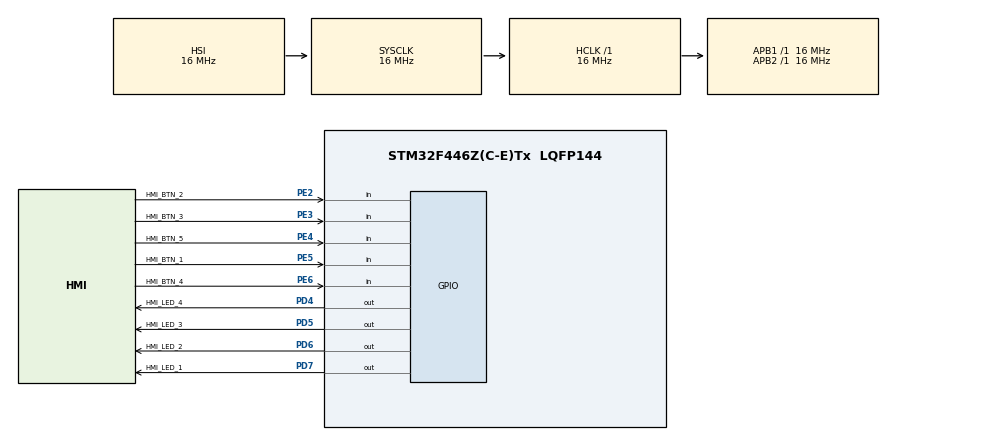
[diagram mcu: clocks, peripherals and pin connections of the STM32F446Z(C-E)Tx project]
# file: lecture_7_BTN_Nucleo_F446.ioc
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Mcu.Family=STM32F4
Mcu.Name=STM32F446Z(C-E)Tx
Mcu.Package=LQFP144
NVIC.PriorityGroup=NVIC_PRIORITYGROUP_4
PA13.Mode=Serial_Wire
PA13.Signal=SYS_JTMS-SWDIO
PA14.Mode=Serial_Wire
PA14.Signal=SYS_JTCK-SWCLK
PA15.Signal=SYS_JTDI
PB3.Signal=SYS_JTDO-SWO
PD4.GPIO_Label=HMI_LED_4
PD4.GPIO_ModeDefaultOutputPP=GPIO_MODE_OUTPUT_PP
PD4.GPIO_PuPd=GPIO_NOPULL
PD4.GPIO_Speed=GPIO_SPEED_FREQ_LOW
PD4.PinState=GPIO_PIN_RESET
PD4.Signal=GPIO_Output
PD5.GPIO_Label=HMI_LED_3
PD5.GPIO_ModeDefaultOutputPP=GPIO_MODE_OUTPUT_PP
PD5.GPIO_PuPd=GPIO_NOPULL
PD5.GPIO_Speed=GPIO_SPEED_FREQ_LOW
PD5.PinState=GPIO_PIN_RESET
PD5.Signal=GPIO_Output
PD6.GPIO_Label=HMI_LED_2
PD6.GPIO_ModeDefaultOutputPP=GPIO_MODE_OUTPUT_PP
PD6.GPIO_PuPd=GPIO_NOPULL
PD6.GPIO_Speed=GPIO_SPEED_FREQ_LOW
PD6.PinState=GPIO_PIN_RESET
PD6.Signal=GPIO_Output
PD7.GPIO_Label=HMI_LED_1
PD7.GPIO_ModeDefaultOutputPP=GPIO_MODE_OUTPUT_PP
PD7.GPIO_PuPd=GPIO_NOPULL
PD7.GPIO_Speed=GPIO_SPEED_FREQ_LOW
PD7.PinState=GPIO_PIN_RESET
PD7.Signal=GPIO_Output
PE2.GPIO_Label=HMI_BTN_2
PE2.GPIO_Mode=GPIO_MODE_INPUT
PE2.GPIO_PuPd=GPIO_PULLDOWN
PE2.Signal=GPIO_Input
PE3.GPIO_Label=HMI_BTN_3
PE3.GPIO_Mode=GPIO_MODE_INPUT
PE3.GPIO_PuPd=GPIO_PULLDOWN
PE3.Signal=GPIO_Input
PE4.GPIO_Label=HMI_BTN_5
PE4.GPIO_Mode=GPIO_MODE_INPUT
PE4.GPIO_PuPd=GPIO_PULLDOWN
PE4.Signal=GPIO_Input
PE5.GPIO_Label=HMI_BTN_1
PE5.GPIO_Mode=GPIO_MODE_INPUT
PE5.GPIO_PuPd=GPIO_PULLDOWN
PE5.Signal=GPIO_Input
PE6.GPIO_Label=HMI_BTN_4
PE6.GPIO_Mode=GPIO_MODE_INPUT
PE6.GPIO_PuPd=GPIO_PULLDOWN
PE6.Signal=GPIO_Input
PH0-OSC_IN.Mode=HSE-External-Clock-Source
PH0-OSC_IN.Signal=RCC_OSC_IN
PH1-OSC_OUT.Mode=HSE-External-Clock-Source
PH1-OSC_OUT.Signal=RCC_OSC_OUT
ProjectManager.HeapSize=0x200
ProjectManager.StackSize=0x400
ProjectManager.TargetToolchain=STM32CubeIDE
RCC.48MHZClocksFreq_Value=24000000
RCC.AHBFreq_Value=16000000
RCC.APB1Freq_Value=16000000
RCC.APB1TimFreq_Value=16000000
RCC.APB2Freq_Value=16000000
RCC.APB2TimFreq_Value=16000000
RCC.CortexFreq_Value=16000000
RCC.HCLKFreq_Value=16000000
RCC.HSE_VALUE=8000000
RCC.HSI_VALUE=16000000
RCC.PLLM=4
RCC.PLLMUL=RCC_PLL_MUL9
RCC.PLLN=168
RCC.PLLQ=7
RCC.PRESCALERUSB=RCC_USBCLKSOURCE_PLL_DIV1_5
RCC.SYSCLKFreq_VALUE=16000000
RCC.SYSCLKSourceVirtual=RCC_SYSCLKSOURCE_PLLCLK
RCC.USBFreq_Value=96000000
RCC.VCOOutputFreq_Value=672000000
board=NUCLEO-F446ZE

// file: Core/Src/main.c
/* USER CODE BEGIN Header */
/**
  ******************************************************************************
  * @file           : main.c
  * @brief          : Main program body
  ******************************************************************************
  * @attention
  *
  * Copyright (c) 2024 STMicroelectronics.
  * All rights reserved.
  *
  * This software is licensed under terms that can be found in the LICENSE file
  * in the root directory of this software component.
  * If no LICENSE file comes with this software, it is provided AS-IS.
  *
  ******************************************************************************
  */
/* USER CODE END Header */
#include "main.h"
#include "gpio.h"

/* USER CODE BEGIN PD */

#define HMI_SW_1_Pin  GPIO_PIN_1
#define HMI_SW_2_Pin  GPIO_PIN_2
#define HMI_SW_3_Pin  GPIO_PIN_3
#define HMI_SW_4_Pin  GPIO_PIN_4

/* USER CODE END PD */

void SystemClock_Config(void);

int main(void)
{

  /* MCU Configuration--------------------------------------------------------*/

  /* Reset of all peripherals, Initializes the Flash interface and the Systick. */
  HAL_Init();

  /* Configure the system clock */
  SystemClock_Config();

  /* Initialize all configured peripherals */
  MX_GPIO_Init();
  /* USER CODE BEGIN 2 */

  /* GPIO Ports Clock Enable */
   __HAL_RCC_GPIOH_CLK_ENABLE(); // H GPIO port órajel engedélyezés
   __HAL_RCC_GPIOB_CLK_ENABLE(); // B GPIO port órajel engedélyezés
   __HAL_RCC_GPIOD_CLK_ENABLE(); // D GPIO port órajel engedélyezés
   __HAL_RCC_GPIOA_CLK_ENABLE(); // A GPIO port órajel engedélyezés

   /* GPIO struktúra deklarálása */
     GPIO_InitTypeDef GPIO_InitStruct = {0};

    /*HMI_BTN_5_Pin, HMI_BTN_4_Pin, HMI_BTN_3_Pin, HMI_BTN_2_Pin-ek konfigurálása */
      GPIO_InitStruct.Pin = HMI_BTN_5_Pin|HMI_BTN_4_Pin|HMI_BTN_3_Pin|HMI_BTN_2_Pin;
      GPIO_InitStruct.Mode = GPIO_MODE_INPUT; // Mód beállítás
      GPIO_InitStruct.Pull = GPIO_NOPULL; // Fel/lehúzó ellenállás
      HAL_GPIO_Init(GPIOB, &GPIO_InitStruct); // Inicializálás

      /*HMI_BTN_1_Pin, HMI_SW_4_Pin, HMI_SW_3_Pin, HMI_SW_2_Pin, HMI_SW_1_Pin-ek konfigurálása */
      GPIO_InitStruct.Pin = HMI_BTN_1_Pin|HMI_SW_4_Pin|HMI_SW_3_Pin|HMI_SW_2_Pin|HMI_SW_1_Pin;
      GPIO_InitStruct.Mode = GPIO_MODE_INPUT; // Mód beállítás
      GPIO_InitStruct.Pull = GPIO_NOPULL; // Fel/lehúzó ellenállás
      HAL_GPIO_Init(GPIOD, &GPIO_InitStruct); // Inicializálás

      /*HMI_LED_4_Pin, HMI_LED_3_Pin, HMI_LED_2_Pin, HMI_LED_1_Pin-ek konfigurálása */
      GPIO_InitStruct.Pin = HMI_LED_4_Pin|HMI_LED_3_Pin|HMI_LED_2_Pin|HMI_LED_1_Pin;
      GPIO_InitStruct.Mode = GPIO_MODE_OUTPUT_PP; // Mód beállítás
      GPIO_InitStruct.Pull = GPIO_NOPULL; // Fel/lehúzó ellenállás
      GPIO_InitStruct.Speed = GPIO_SPEED_FREQ_LOW; // Sebesség beállítás
      HAL_GPIO_Init(GPIOD, &GPIO_InitStruct); // Inicializálás

#define DEBOUNCING_TRESHOLD 2500

  uint32_t count_debounce = 0;		// number of identical states
  uint8_t previous_state_debounce;	// button previous state
  uint8_t current_state_debounce = HAL_GPIO_ReadPin(HMI_BTN_1_GPIO_Port, HMI_BTN_1_Pin);	//button actual state

  uint8_t previous_state_edge = HAL_GPIO_ReadPin(HMI_BTN_1_GPIO_Port, HMI_BTN_1_Pin);		//variable for edge detection
  uint32_t counter = 0;				// cycle counter

  /* USER CODE END 2 */

  /* Infinite loop */
  /* USER CODE BEGIN WHILE */
  while (1)
  {

	  count_debounce = 0;				// variable reset
	  //check the state of the button until it is sufficiently stable
	  while (count_debounce < DEBOUNCING_TRESHOLD)
	  {
		  previous_state_debounce = current_state_debounce;
		  current_state_debounce = HAL_GPIO_ReadPin(HMI_BTN_1_GPIO_Port, HMI_BTN_1_Pin);
		  //if the previous state is equal by the actual state increment the debounce variable
		  if (previous_state_debounce == current_state_debounce)
		  {
			  count_debounce++;
		  }

	  }
	  //edge detection, counter incrementation if it is happened
	  if (current_state_debounce && !previous_state_edge)
	  {
		  //In order to show the actual value of the counter on the LEDs
		  //	the counter should be incremented before setting the LED ports
		  counter++;

		  //set the LED control pins based on the counter value
		  HAL_GPIO_WritePin(HMI_LED_1_GPIO_Port, HMI_LED_1_Pin, counter & 0x08 ? GPIO_PIN_SET : GPIO_PIN_RESET);
		  HAL_GPIO_WritePin(HMI_LED_2_GPIO_Port, HMI_LED_2_Pin, counter & 0x04 ? GPIO_PIN_SET : GPIO_PIN_RESET);
		  HAL_GPIO_WritePin(HMI_LED_3_GPIO_Port, HMI_LED_3_Pin, counter & 0x02 ? GPIO_PIN_SET : GPIO_PIN_RESET);
		  HAL_GPIO_WritePin(HMI_LED_4_GPIO_Port, HMI_LED_4_Pin, counter & 0x01 ? GPIO_PIN_SET : GPIO_PIN_RESET);
	  }

	  previous_state_edge = current_state_debounce;	//save the actual state

    /* USER CODE END WHILE */

  }
}

void SystemClock_Config(void)
{
  RCC_OscInitTypeDef RCC_OscInitStruct = {0};
  RCC_ClkInitTypeDef RCC_ClkInitStruct = {0};

  /** Configure the main internal regulator output voltage
  */
  __HAL_RCC_PWR_CLK_ENABLE();
  __HAL_PWR_VOLTAGESCALING_CONFIG(PWR_REGULATOR_VOLTAGE_SCALE3);

  /** Initializes the RCC Oscillators according to the specified parameters
  * in the RCC_OscInitTypeDef structure.
  */
  RCC_OscInitStruct.OscillatorType = RCC_OSCILLATORTYPE_HSI;
  RCC_OscInitStruct.HSIState = RCC_HSI_ON;
  RCC_OscInitStruct.HSICalibrationValue = RCC_HSICALIBRATION_DEFAULT;
  RCC_OscInitStruct.PLL.PLLState = RCC_PLL_NONE;
  if (HAL_RCC_OscConfig(&RCC_OscInitStruct) != HAL_OK)
  {
    Error_Handler();
  }

  /** Initializes the CPU, AHB and APB buses clocks
  */
  RCC_ClkInitStruct.ClockType = RCC_CLOCKTYPE_HCLK|RCC_CLOCKTYPE_SYSCLK
                              |RCC_CLOCKTYPE_PCLK1|RCC_CLOCKTYPE_PCLK2;
  RCC_ClkInitStruct.SYSCLKSource = RCC_SYSCLKSOURCE_HSI;
  RCC_ClkInitStruct.AHBCLKDivider = RCC_SYSCLK_DIV1;
  RCC_ClkInitStruct.APB1CLKDivider = RCC_HCLK_DIV1;
  RCC_ClkInitStruct.APB2CLKDivider = RCC_HCLK_DIV1;

  if (HAL_RCC_ClockConfig(&RCC_ClkInitStruct, FLASH_LATENCY_0) != HAL_OK)
  {
    Error_Handler();
  }
}

void Error_Handler(void)
{
  __disable_irq();
  while (1)
  {
  }
}
